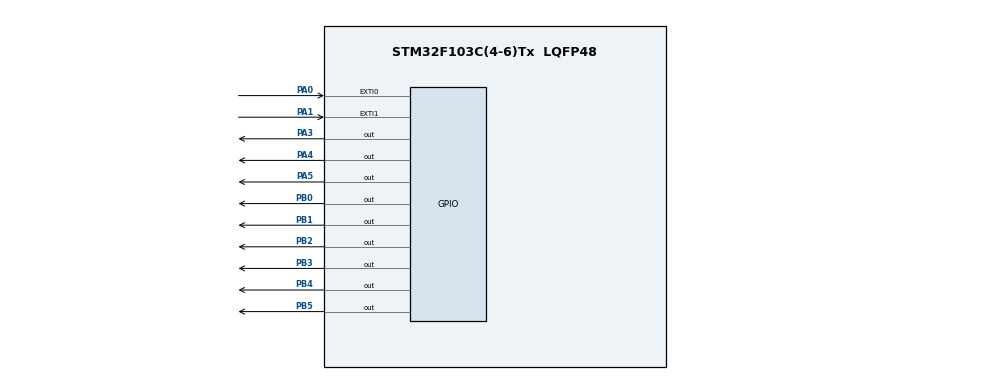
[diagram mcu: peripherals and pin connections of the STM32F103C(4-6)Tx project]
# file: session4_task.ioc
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Mcu.Family=STM32F1
Mcu.Name=STM32F103C(4-6)Tx
Mcu.Package=LQFP48
NVIC.PriorityGroup=NVIC_PRIORITYGROUP_4
PA0-WKUP.GPIO_PuPd=GPIO_PULLDOWN
PA0-WKUP.Signal=GPXTI0
PA1.GPIO_ModeDefaultEXTI=GPIO_MODE_IT_RISING
PA1.GPIO_PuPd=GPIO_PULLDOWN
PA1.Signal=GPXTI1
PA3.Signal=GPIO_Output
PA4.Signal=GPIO_Output
PA5.Signal=GPIO_Output
PB0.Signal=GPIO_Output
PB1.Signal=GPIO_Output
PB2.Signal=GPIO_Output
PB3.Signal=GPIO_Output
PB4.Signal=GPIO_Output
PB5.Signal=GPIO_Output
ProjectManager.HeapSize=0x200
ProjectManager.StackSize=0x400
ProjectManager.TargetToolchain=STM32CubeIDE
RCC.APB1Freq_Value=8000000
RCC.APB2Freq_Value=8000000
board=custom

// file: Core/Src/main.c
/* USER CODE BEGIN Header */
/**
  ******************************************************************************
  * @file           : main.c
  * @brief          : Main program body
  ******************************************************************************
  * @attention
  *
  * Copyright (c) 2025 STMicroelectronics.
  * All rights reserved.
  *
  * This software is licensed under terms that can be found in the LICENSE file
  * in the root directory of this software component.
  * If no LICENSE file comes with this software, it is provided AS-IS.
  *
  ******************************************************************************
  */
/* USER CODE END Header */
#include "main.h"

/* USER CODE BEGIN Includes */
#include "../../ECUAL/LCD16X2/LCD16X2.h"

/* USER CODE END Includes */

/* USER CODE BEGIN PD */
#define MyLCD LCD16X2_1
/* USER CODE END PD */

/* USER CODE BEGIN PV */
unsigned char running=0;
unsigned char emergency_mode;
unsigned int last_press=0;
/* USER CODE END PV */

void SystemClock_Config(void);
static void MX_GPIO_Init(void);

int main(void)
{

  /* MCU Configuration--------------------------------------------------------*/

  /* Reset of all peripherals, Initializes the Flash interface and the Systick. */
  HAL_Init();

  /* Configure the system clock */
  SystemClock_Config();

  /* Initialize all configured peripherals */
  MX_GPIO_Init();
  /* USER CODE BEGIN 2 */
  GPIOA->ODR=0; //all leds off at first
  LCD16X2_Init(MyLCD);
  LCD16X2_Clear(MyLCD);
  LCD16X2_Set_Cursor(MyLCD, 1, 1);
  LCD16X2_Write_String(MyLCD, "Traffic off");
  /* USER CODE END 2 */

  /* Infinite loop */
  /* USER CODE BEGIN WHILE */
  while (1)
  {

	  if(running){
		  HAL_Delay(100);
		  if(running){

		LCD16X2_Clear(MyLCD);
		LCD16X2_Write_String(MyLCD, "Traffic running");

		GPIOA->ODR =(1<<3); //light the leds in order

		HAL_Delay(2000);

		GPIOA->ODR =(1<<4);

		HAL_Delay(2000);

		GPIOA->ODR =(1<<5);

		HAL_Delay(2000);

	  }}

    /* USER CODE END WHILE */

  }
}

void SystemClock_Config(void)
{
  RCC_OscInitTypeDef RCC_OscInitStruct = {0};
  RCC_ClkInitTypeDef RCC_ClkInitStruct = {0};

  /** Initializes the RCC Oscillators according to the specified parameters
  * in the RCC_OscInitTypeDef structure.
  */
  RCC_OscInitStruct.OscillatorType = RCC_OSCILLATORTYPE_HSI;
  RCC_OscInitStruct.HSIState = RCC_HSI_ON;
  RCC_OscInitStruct.HSICalibrationValue = RCC_HSICALIBRATION_DEFAULT;
  RCC_OscInitStruct.PLL.PLLState = RCC_PLL_NONE;
  if (HAL_RCC_OscConfig(&RCC_OscInitStruct) != HAL_OK)
  {
    Error_Handler();
  }

  /** Initializes the CPU, AHB and APB buses clocks
  */
  RCC_ClkInitStruct.ClockType = RCC_CLOCKTYPE_HCLK|RCC_CLOCKTYPE_SYSCLK
                              |RCC_CLOCKTYPE_PCLK1|RCC_CLOCKTYPE_PCLK2;
  RCC_ClkInitStruct.SYSCLKSource = RCC_SYSCLKSOURCE_HSI;
  RCC_ClkInitStruct.AHBCLKDivider = RCC_SYSCLK_DIV1;
  RCC_ClkInitStruct.APB1CLKDivider = RCC_HCLK_DIV1;
  RCC_ClkInitStruct.APB2CLKDivider = RCC_HCLK_DIV1;

  if (HAL_RCC_ClockConfig(&RCC_ClkInitStruct, FLASH_LATENCY_0) != HAL_OK)
  {
    Error_Handler();
  }
}

static void MX_GPIO_Init(void)
{
  GPIO_InitTypeDef GPIO_InitStruct = {0};

  /* GPIO Ports Clock Enable */
  __HAL_RCC_GPIOA_CLK_ENABLE();
  __HAL_RCC_GPIOB_CLK_ENABLE();

  /*Configure GPIO pin Output Level */
  HAL_GPIO_WritePin(GPIOA, GPIO_PIN_3|GPIO_PIN_4|GPIO_PIN_5, GPIO_PIN_RESET);

  /*Configure GPIO pin Output Level */
  HAL_GPIO_WritePin(GPIOB, GPIO_PIN_0|GPIO_PIN_1|GPIO_PIN_2|GPIO_PIN_3
                          |GPIO_PIN_4|GPIO_PIN_5, GPIO_PIN_RESET);

  /*Configure GPIO pins : PA0 PA1 */
  GPIO_InitStruct.Pin = GPIO_PIN_0|GPIO_PIN_1;
  GPIO_InitStruct.Mode = GPIO_MODE_IT_RISING;
  GPIO_InitStruct.Pull = GPIO_PULLDOWN;
  HAL_GPIO_Init(GPIOA, &GPIO_InitStruct);

  /*Configure GPIO pins : PA3 PA4 PA5 */
  GPIO_InitStruct.Pin = GPIO_PIN_3|GPIO_PIN_4|GPIO_PIN_5;
  GPIO_InitStruct.Mode = GPIO_MODE_OUTPUT_PP;
  GPIO_InitStruct.Pull = GPIO_NOPULL;
  GPIO_InitStruct.Speed = GPIO_SPEED_FREQ_LOW;
  HAL_GPIO_Init(GPIOA, &GPIO_InitStruct);

  /*Configure GPIO pins : PB0 PB1 PB2 PB3
                           PB4 PB5 */
  GPIO_InitStruct.Pin = GPIO_PIN_0|GPIO_PIN_1|GPIO_PIN_2|GPIO_PIN_3
                          |GPIO_PIN_4|GPIO_PIN_5;
  GPIO_InitStruct.Mode = GPIO_MODE_OUTPUT_PP;
  GPIO_InitStruct.Pull = GPIO_NOPULL;
  GPIO_InitStruct.Speed = GPIO_SPEED_FREQ_LOW;
  HAL_GPIO_Init(GPIOB, &GPIO_InitStruct);

  /* USER CODE BEGIN MX_GPIO_Init_2 */
  HAL_NVIC_SetPriority(EXTI0_IRQn, 2, 0);
  HAL_NVIC_EnableIRQ(EXTI0_IRQn);
  HAL_NVIC_SetPriority(EXTI1_IRQn, 3, 0);
  HAL_NVIC_EnableIRQ(EXTI1_IRQn);
  /* USER CODE END MX_GPIO_Init_2 */
}

/* USER CODE BEGIN 4 */

void HAL_GPIO_EXTI_Callback(uint16_t GPIO_Pin) //on/off button
{
  if (GPIO_Pin==GPIO_PIN_0)
   { if (HAL_GetTick()-last_press<200) return; //debounce instead of delay, if button pressed less than 200ms from reset
   last_press=HAL_GetTick();
	  running=!running;

   }

if(running==0)
  NVIC_SystemReset();

if (GPIO_Pin==GPIO_PIN_1)
{ emergency_mode=1;
LCD16X2_Clear(MyLCD);
LCD16X2_Write_String(MyLCD, "EMERGENCY");
	while(emergency_mode)
	{GPIOA->ODR |=(1<<3);
	  GPIOA->ODR &=~((1<<4)|(1<<5));

	if (HAL_GPIO_ReadPin(GPIOA, GPIO_PIN_1) == GPIO_PIN_RESET)
      {emergency_mode = 0; NVIC_SystemReset();}

  }

  }
}

/* USER CODE END 4 */

void Error_Handler(void)
{
  __disable_irq();
  while (1)
  {
  }
}
